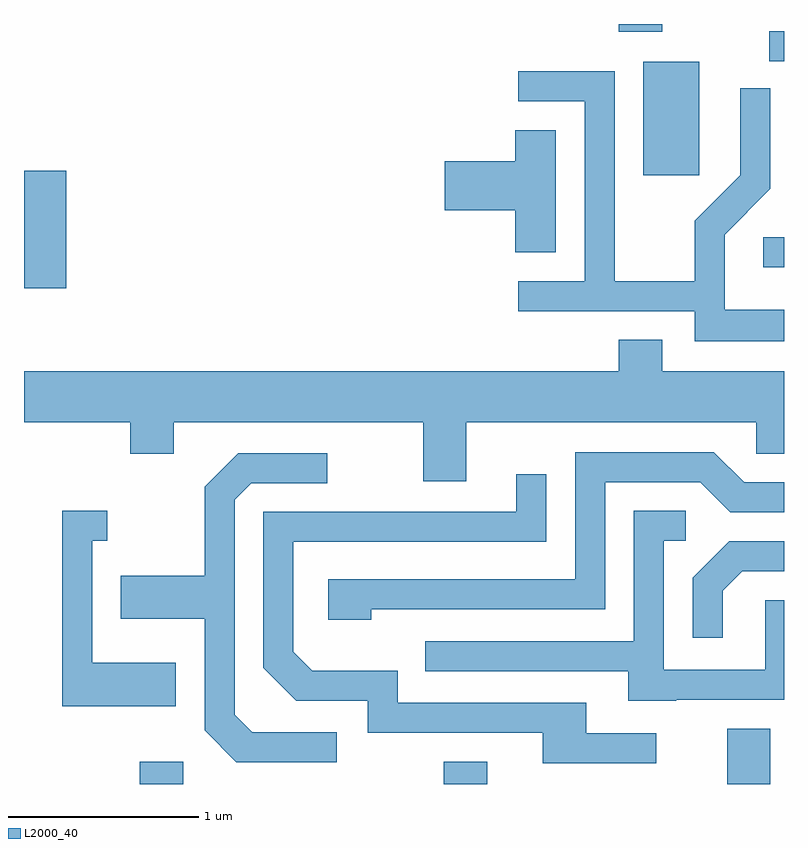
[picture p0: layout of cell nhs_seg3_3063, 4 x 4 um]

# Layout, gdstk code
import gdstk
lib = gdstk.Library(unit=1e-6, precision=1e-09)
def R(c, l, rs):  # rectangles x0, y0, x1, y1
    for r in rs: c.add(gdstk.rectangle(r[:2], r[2:], *l))
def P(c, l, *ps):  # polygons
    for p in ps: c.add(gdstk.Polygon(p, *l))
L2000_40 = (2000, 40)

nhs_seg3_3063 = lib.new_cell('nhs_seg3_3063')
R(nhs_seg3_3063, L2000_40, [(276.221,1121.892,276.449,1122.009), (277.821,1121.892,278.049,1122.009), (279.311,1121.892,279.539,1122.184), (275.611,1124.501,275.834,1125.119), (279.503,1124.611,279.611,1124.769), (278.871,1125.096,279.164,1125.694), (279.533,1125.696,279.611,1125.854), (278.741,1125.851,278.969,1125.892)])
P(nhs_seg3_3063, L2000_40, [(279.611,1124.389),(279.299,1124.389),(279.299,1124.784),(279.539,1125.024),(279.539,1125.553),(279.381,1125.553),(279.381,1125.097),(279.141,1124.857),(279.141,1124.539),(278.719,1124.539),(278.719,1125.644),(278.213,1125.644),(278.213,1125.486),(278.561,1125.486),(278.561,1124.539),(278.213,1124.539),(278.213,1124.381),(279.141,1124.381),(279.141,1124.221),(279.611,1124.221)],
  [(278.409,1125.334),(278.196,1125.334),(278.196,1125.169),(277.826,1125.169),(277.826,1124.911),(278.196,1124.911),(278.196,1124.691),(278.409,1124.691)],
  [(277.939,1123.796),(279.466,1123.796),(279.466,1123.631),(279.611,1123.631),(279.611,1124.064),(278.969,1124.064),(278.969,1124.229),(278.741,1124.229),(278.741,1124.064),(275.611,1124.064),(275.611,1123.796),(276.171,1123.796),(276.171,1123.631),(276.399,1123.631),(276.399,1123.796),(277.711,1123.796),(277.711,1123.486),(277.939,1123.486)],
  [(277.439,1122.811),(278.669,1122.811),(278.669,1123.481),(279.169,1123.481),(279.329,1123.321),(279.611,1123.321),(279.611,1123.479),(279.402,1123.479),(279.242,1123.639),(278.511,1123.639),(278.511,1122.969),(277.211,1122.969),(277.211,1122.756),(277.439,1122.756)],
  [(277.258,1122.164),(276.812,1122.164),(276.719,1122.257),(276.719,1123.389),(276.807,1123.476),(277.208,1123.476),(277.208,1123.634),(276.739,1123.634),(276.561,1123.457),(276.561,1122.989),(276.121,1122.989),(276.121,1122.761),(276.561,1122.761),(276.561,1122.174),(276.729,1122.006),(277.258,1122.006)],
  [(278.938,1122.159),(278.569,1122.159),(278.569,1122.319),(277.579,1122.319),(277.579,1122.489),(277.127,1122.489),(277.029,1122.587),(277.029,1123.166),(278.359,1123.166),(278.359,1123.523),(278.201,1123.523),(278.201,1123.324),(276.871,1123.324),(276.871,1122.504),(277.044,1122.331),(277.421,1122.331),(277.421,1122.161),(278.341,1122.161),(278.341,1122.001),(278.938,1122.001)],
  [(279.045,1122.336),(279.611,1122.336),(279.611,1122.859),(279.511,1122.859),(279.511,1122.494),(278.979,1122.494),(278.979,1123.171),(279.093,1123.171),(279.093,1123.329),(278.821,1123.329),(278.821,1122.644),(277.723,1122.644),(277.723,1122.486),(278.791,1122.486),(278.791,1122.331),(279.045,1122.331)],
  [(276.409,1122.529),(275.969,1122.529),(275.969,1123.171),(276.048,1123.171),(276.048,1123.329),(275.811,1123.329),(275.811,1122.301),(276.409,1122.301)],
  [(279.289,1122.909),(279.392,1123.011),(279.611,1123.011),(279.611,1123.169),(279.324,1123.169),(279.131,1122.977),(279.131,1122.663),(279.289,1122.663)])

lib.write_gds('nhs_seg3_3063.gds')
